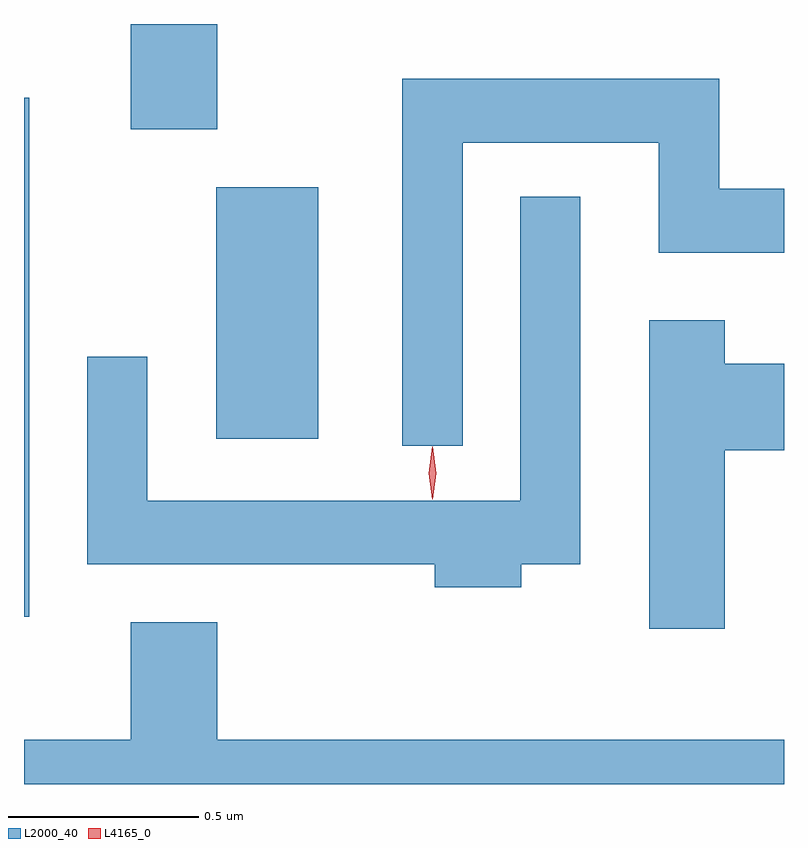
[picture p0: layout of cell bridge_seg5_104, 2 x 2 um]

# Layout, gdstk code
import gdstk
lib = gdstk.Library(unit=1e-6, precision=1e-09)
def R(c, l, rs):  # rectangles x0, y0, x1, y1
    for r in rs: c.add(gdstk.rectangle(r[:2], r[2:], *l))
def P(c, l, *ps):  # polygons
    for p in ps: c.add(gdstk.Polygon(p, *l))
L2000_40 = (2000, 40)
L4165_0 = (4165, 0)

bridge_seg5_104 = lib.new_cell('bridge_seg5_104')
R(bridge_seg5_104, L2000_40, [(1217.83,1486.248,1217.844,1487.614), (1218.336,1486.716,1218.604,1487.379), (1218.111,1487.531,1218.339,1487.808)])
P(bridge_seg5_104, L2000_40, [(1218.984,1487.496),(1219.501,1487.496),(1219.501,1487.206),(1219.83,1487.206),(1219.83,1487.374),(1219.659,1487.374),(1219.659,1487.664),(1218.826,1487.664),(1218.826,1486.698),(1218.984,1486.698)],
  [(1219.139,1486.386),(1219.294,1486.386),(1219.294,1487.353),(1219.136,1487.353),(1219.136,1486.554),(1218.154,1486.554),(1218.154,1486.933),(1217.996,1486.933),(1217.996,1486.386),(1218.911,1486.386),(1218.911,1486.326),(1219.139,1486.326)],
  [(1219.674,1486.686),(1219.83,1486.686),(1219.83,1486.914),(1219.674,1486.914),(1219.674,1487.029),(1219.476,1487.029),(1219.476,1486.216),(1219.674,1486.216)],
  [(1219.83,1485.924),(1218.339,1485.924),(1218.339,1486.234),(1218.111,1486.234),(1218.111,1485.924),(1217.83,1485.924),(1217.83,1485.808),(1219.83,1485.808)])
P(bridge_seg5_104, L4165_0, [(1218.905,1486.559),(1218.904,1486.56),(1218.895,1486.626),(1218.904,1486.692),(1218.905,1486.693),(1218.905,1486.692),(1218.915,1486.626),(1218.905,1486.56)],
  [(1218.904,1486.557),(1218.895,1486.626),(1218.904,1486.696),(1218.905,1486.696),(1218.906,1486.696),(1218.915,1486.626),(1218.906,1486.557),(1218.905,1486.557)])

lib.write_gds('bridge_seg5_104.gds')
